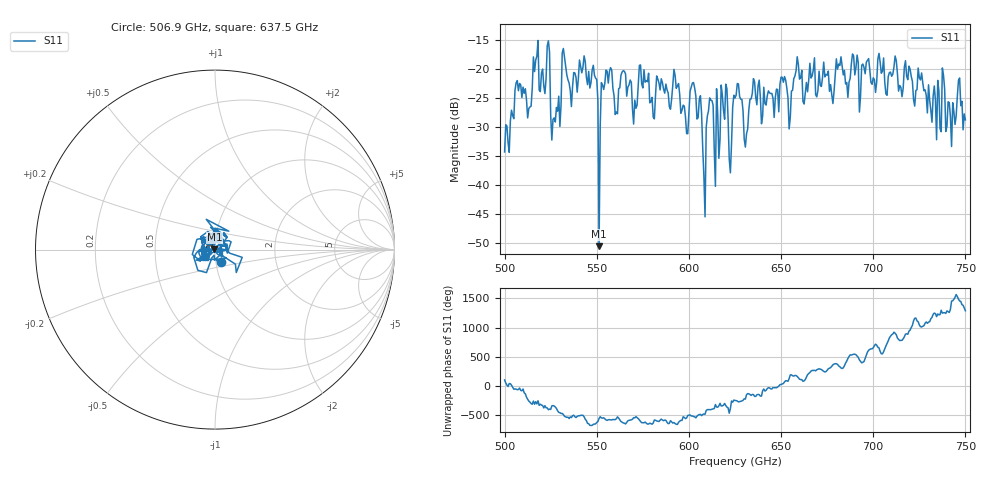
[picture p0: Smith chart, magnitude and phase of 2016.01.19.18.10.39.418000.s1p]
!Created with skrf (http://scikit-rf.org).
# GHz S RI R 50.0
!freq ReS11 ImS11
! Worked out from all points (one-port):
!   401 points, 500 GHz to 750 GHz, reference 50 ohm
!   lowest |S11| = -50.6 dB at 551.2 GHz (marker M1), VSWR 1.01, Z = 49.7 + j0.0811 ohm
!   |S11| at or under -10 dB: start of sweep to end of sweep
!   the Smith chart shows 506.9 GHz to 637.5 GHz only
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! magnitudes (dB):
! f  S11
! 500 GHz  -34.3
! 506.9 GHz  -22.0
! 513.8 GHz  -26.6
! 516.9 GHz  -18.5
! 523.8 GHz  -15.2
! 526.2 GHz  -28.7
! 531.2 GHz  -17.3
! 548.8 GHz  -21.1
! 551.2 GHz  -50.6
! 556.2 GHz  -22.5
! 562.5 GHz  -23.3
! 593.8 GHz  -23.0
! 598.8 GHz  -31.2
! 602.5 GHz  -22.4
! 608.8 GHz  -45.5
! 611.2 GHz  -25.0
! 615 GHz  -23.4
! 619.4 GHz  -28.7
! 622.5 GHz  -37.9
! 625 GHz  -25.0
! 630.6 GHz  -33.5
! 634.4 GHz  -24.3
! 656.2 GHz  -23.7
! 687.5 GHz  -21.6
! 718.8 GHz  -21.9
! 743.1 GHz  -25.8
! 746.9 GHz  -21.6
! 750 GHz  -28.8
